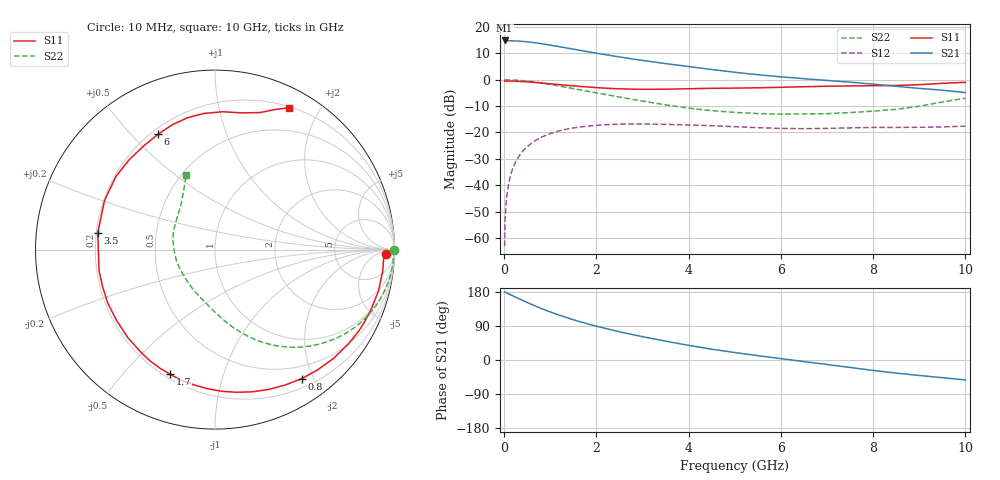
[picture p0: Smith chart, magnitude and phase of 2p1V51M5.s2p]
! (c) 2009  Infineon Technologies AG, Munich
! Infineon Technologies  Discrete & RF Semiconductors
! BFP420
! VCE =  1.5 V,  IC =  1.5 mA
! Common Emitter S-Parameters:  Nov 2009
# GHz  S  MA  R  50
!  f  S11  S21  S12  S22
! GHz  MAG  ANG  MAG  ANG  MAG  ANG  MAG  ANG
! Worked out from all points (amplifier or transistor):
!   46 points, 10 MHz to 10 GHz, reference 50 ohm
!   highest |S21| = 14.9 dB at 10 MHz (marker M1)
!   |S21| within 3 dB of that: start of sweep to 1.404 GHz
!   unconditionally stable (mu >= 1): 4.128 GHz to end of sweep
!   at 300 MHz: K = 0.03, MSG = 22.1 dB, |S12| = -29.6 dB
!   at 1.7 GHz: K = 0.32, MSG = 14.4 dB, |S12| = -17.8 dB
!   at 10 GHz: K = 1.26, MAG = 3.3 dB, |S12| = -17.6 dB
!   lowest NFmin = 0.52 dB at 900 MHz
!   S11 on the Smith chart (normalised r, x): 10 MHz: 32, -16; 800 MHz: 0.32, -1.84; 1.7 GHz: 0.22, -0.68; 3.5 GHz: 0.21, +0.07; 6 GHz: 0.23, +0.60; 10 GHz: 0.21, +1.63
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0.01  0.9515 -1.4  5.533 179.4  0.0007 95.8  0.9951 -0.1
0.02  0.9437 -1.5  5.38 179.2  0.0022 88.4  0.9956 -0.8
0.05  0.9406 -3.8  5.422 177.2  0.0056 87.8  0.9956 -2.1
0.15  0.939 -10.6  5.448 171.5  0.0167 83.9  0.9913 -6.5
0.35  0.9259 -25.0  5.349 160.2  0.0384 75.3  0.9681 -15.0
0.5  0.9095 -35.5  5.207 151.8  0.0538 69.0  0.94 -21.1
0.7  0.8812 -49.4  4.966 141.2  0.0723 60.8  0.8931 -28.9
0.8  0.8666 -56.0  4.811 136.2  0.0806 57.0  0.867 -32.4
1  0.8345 -69.1  4.517 126.9  0.0953 49.8  0.8115 -39.1
1.2  0.8037 -81.5  4.211 118.1  0.1075 43.2  0.7562 -45.2
1.5  0.7623 -99.0  3.786 106.3  0.1217 34.4  0.6772 -53.3
1.7  0.7381 -109.9  3.532 99.2  0.1287 29.1  0.6289 -58.1
2.2  0.6902 -134.8  2.973 83.2  0.1399 17.7  0.5237 -68.5
2.6  0.668 -153.3  2.614 71.8  0.1439 9.8  0.452 -76.2
3  0.6567 -169.7  2.316 61.6  0.1445 3.2  0.3932 -83.3
3.5  0.6599 171.8  2.016 49.7  0.1423 -3.7  0.3329 -93.0
4.5  0.6862 143.6  1.559 28.5  0.134 -13.5  0.2589 -115.6
5.5  0.7008 124.7  1.241 11.5  0.1231 -18.5  0.2278 -138.9
6  0.7166 116.3  1.131 3.7  0.1191 -19.2  0.2226 -151.7
7  0.7502 101.9  0.966 -11.9  0.1192 -19.5  0.2271 -177.2
8.5  0.7766 78.8  0.748 -34.6  0.1246 -24.2  0.2732 141.3
10  0.8907 62.5  0.569 -52.6  0.1317 -26.2  0.4468 111.0
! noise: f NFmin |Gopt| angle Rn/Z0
0.9  0.52  0.55  33  0.27
1.8  1.07  0.35  77  0.21
2.4  1.18  0.36  101  0.18
3  1.41  0.36  134  0.13
4  1.68  0.4  -172  0.1
5  2.08  0.44  -130  0.32
6  2.89  0.57  -114  0.39
